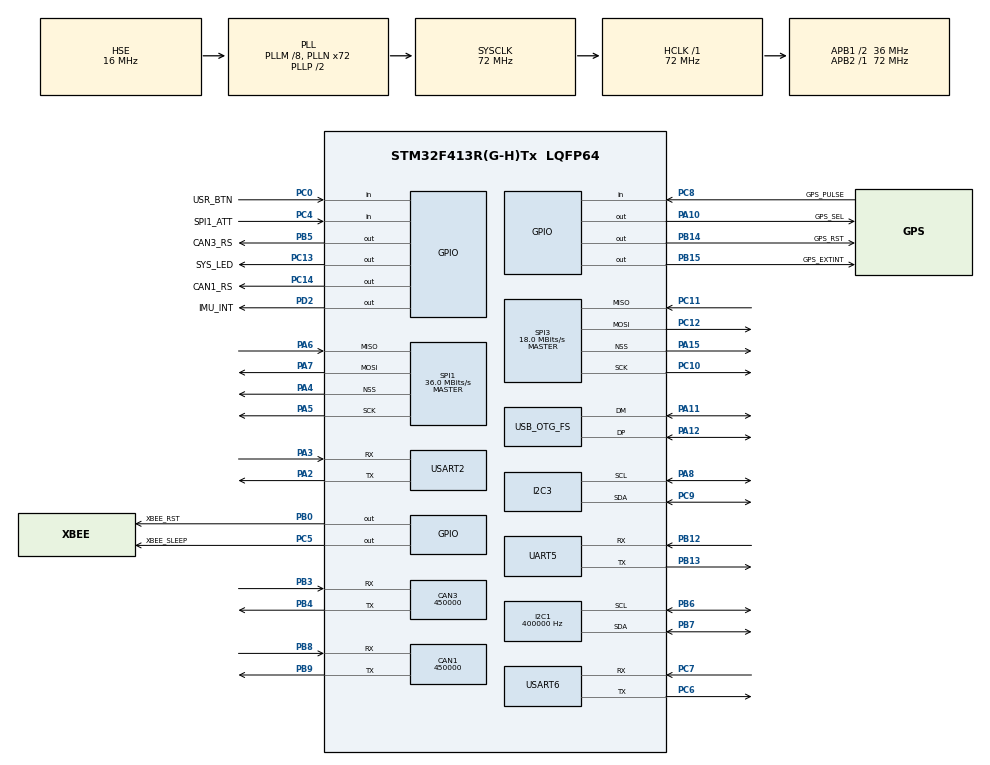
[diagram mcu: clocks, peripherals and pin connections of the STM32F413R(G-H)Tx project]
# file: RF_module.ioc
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CAN1.BS1=CAN_BS1_2TQ
CAN1.BS2=CAN_BS2_2TQ
CAN1.CalculateBaudRate=450000
CAN1.CalculateTimeBit=2222
CAN1.CalculateTimeQuantum=444.44444444444446
CAN3.BS1=CAN_BS1_2TQ
CAN3.BS2=CAN_BS2_2TQ
CAN3.CalculateBaudRate=450000
CAN3.CalculateTimeBit=2222
CAN3.CalculateTimeQuantum=444.44444444444446
Dma.I2C1_RX.0.Direction=DMA_PERIPH_TO_MEMORY
Dma.I2C1_RX.0.FIFOMode=DMA_FIFOMODE_ENABLE
Dma.I2C1_RX.0.FIFOThreshold=DMA_FIFO_THRESHOLD_FULL
Dma.I2C1_RX.0.Instance=DMA1_Stream0
Dma.I2C1_RX.0.MemBurst=DMA_MBURST_SINGLE
Dma.I2C1_RX.0.MemDataAlignment=DMA_MDATAALIGN_BYTE
Dma.I2C1_RX.0.MemInc=DMA_MINC_ENABLE
Dma.I2C1_RX.0.Mode=DMA_NORMAL
Dma.I2C1_RX.0.PeriphBurst=DMA_PBURST_SINGLE
Dma.I2C1_RX.0.PeriphDataAlignment=DMA_PDATAALIGN_BYTE
Dma.I2C1_RX.0.PeriphInc=DMA_PINC_DISABLE
Dma.I2C1_RX.0.Priority=DMA_PRIORITY_VERY_HIGH
Dma.Request0=I2C1_RX
FREERTOS.Tasks01=defaultTask,0,128,StartDefaultTask,Default,NULL,Dynamic,NULL,NULL
FREERTOS.configENABLE_FPU=0
FREERTOS.configUSE_NEWLIB_REENTRANT=1
I2C1.ClockSpeed=400000
I2C1.I2C_Mode=I2C_Fast
Mcu.Family=STM32F4
Mcu.Name=STM32F413R(G-H)Tx
Mcu.Package=LQFP64
NVIC.DMA1_Stream0_IRQn=true\:0\:0\:false\:false\:true\:false\:false\:true\:true
NVIC.I2C1_ER_IRQn=true\:5\:0\:false\:false\:true\:true\:true\:true\:true
NVIC.I2C1_EV_IRQn=true\:5\:0\:false\:false\:true\:true\:true\:true\:true
NVIC.OTG_FS_IRQn=true\:5\:0\:false\:false\:true\:true\:false\:true\:true
NVIC.PriorityGroup=NVIC_PRIORITYGROUP_4
NVIC.TIM1_UP_TIM10_IRQn=true\:15\:0\:false\:false\:true\:false\:false\:true\:true
NVIC.TimeBase=TIM1_UP_TIM10_IRQn
NVIC.TimeBaseIP=TIM10
NVIC.USART2_IRQn=true\:5\:0\:false\:false\:true\:true\:true\:true\:true
PA10.GPIO_Label=GPS_SEL
PA10.Signal=GPIO_Output
PA11.Mode=Device_Only
PA11.Signal=USB_OTG_FS_DM
PA12.Mode=Device_Only
PA12.Signal=USB_OTG_FS_DP
PA13.Mode=Serial_Wire
PA13.Signal=SYS_JTMS-SWDIO
PA14.Mode=Serial_Wire
PA14.Signal=SYS_JTCK-SWCLK
PA15.Mode=NSS_Signal_Hard_Output
PA15.Signal=SPI3_NSS
PA2.Mode=Asynchronous
PA2.Signal=USART2_TX
PA3.Mode=Asynchronous
PA3.Signal=USART2_RX
PA4.Mode=NSS_Signal_Hard_Output
PA4.Signal=SPI1_NSS
PA5.Mode=Full_Duplex_Master
PA5.Signal=SPI1_SCK
PA6.Mode=Full_Duplex_Master
PA6.Signal=SPI1_MISO
PA7.Mode=Full_Duplex_Master
PA7.Signal=SPI1_MOSI
PA8.Mode=I2C
PA8.Signal=I2C3_SCL
PB0.GPIO_Label=XBEE_RST
PB0.Signal=GPIO_Output
PB12.Mode=Asynchronous
PB12.Signal=UART5_RX
PB13.Mode=Asynchronous
PB13.Signal=UART5_TX
PB14.GPIO_Label=GPS_RST
PB14.Signal=GPIO_Output
PB15.GPIO_Label=GPS_EXTINT
PB15.Signal=GPIO_Output
PB3.Mode=CAN_Activate
PB3.Signal=CAN3_RX
PB4.Mode=CAN_Activate
PB4.Signal=CAN3_TX
PB5.GPIO_Label=CAN3_RS
PB5.Signal=GPIO_Output
PB6.Mode=I2C
PB6.Signal=I2C1_SCL
PB7.Mode=I2C
PB7.Signal=I2C1_SDA
PB8.Mode=CAN_Activate
PB8.Signal=CAN1_RX
PB9.Mode=CAN_Activate
PB9.Signal=CAN1_TX
PC0.GPIO_Label=USR_BTN
PC0.Signal=GPIO_Input
PC10.Mode=Full_Duplex_Master
PC10.Signal=SPI3_SCK
PC11.Mode=Full_Duplex_Master
PC11.Signal=SPI3_MISO
PC12.Mode=Full_Duplex_Master
PC12.Signal=SPI3_MOSI
PC13.GPIO_Label=SYS_LED
PC13.Signal=GPIO_Output
PC14-OSC32_IN.GPIO_Label=CAN1_RS
PC14-OSC32_IN.Signal=GPIO_Output
PC4.GPIO_Label=SPI1_ATT
PC4.Signal=GPIO_Input
PC5.GPIO_Label=XBEE_SLEEP
PC5.Signal=GPIO_Output
PC6.Mode=Asynchronous
PC6.Signal=USART6_TX
PC7.Mode=Asynchronous
PC7.Signal=USART6_RX
PC8.GPIO_Label=GPS_PULSE
PC8.Signal=GPIO_Input
PC9.Mode=I2C
PC9.Signal=I2C3_SDA
PD2.GPIO_Label=IMU_INT
PD2.Signal=GPIO_Output
PH0\ -\ OSC_IN.Mode=HSE-External-Oscillator
PH0\ -\ OSC_IN.Signal=RCC_OSC_IN
PH1\ -\ OSC_OUT.Mode=HSE-External-Oscillator
PH1\ -\ OSC_OUT.Signal=RCC_OSC_OUT
ProjectManager.HeapSize=0x200
ProjectManager.StackSize=0x400
ProjectManager.TargetToolchain=STM32CubeIDE
RCC.AHBFreq_Value=72000000
RCC.APB1CLKDivider=RCC_HCLK_DIV2
RCC.APB1Freq_Value=36000000
RCC.APB1TimFreq_Value=72000000
RCC.APB2Freq_Value=72000000
RCC.APB2TimFreq_Value=72000000
RCC.CortexFreq_Value=72000000
RCC.HCLKFreq_Value=72000000
RCC.HSE_VALUE=16000000
RCC.PLLI2SM=8
RCC.PLLI2SN=72
RCC.PLLI2SQ=3
RCC.PLLM=8
RCC.PLLN=72
RCC.PLLQ=3
RCC.PLLSourceVirtual=RCC_PLLSOURCE_HSE
RCC.SYSCLKFreq_VALUE=72000000
RCC.SYSCLKSource=RCC_SYSCLKSOURCE_PLLCLK
RCC.USBFreq_Value=48000000
RCC.VCOOutputFreq_Value=144000000
SPI1.BaudRatePrescaler=SPI_BAUDRATEPRESCALER_2
SPI1.CalculateBaudRate=36.0 MBits/s
SPI1.Direction=SPI_DIRECTION_2LINES
SPI1.Mode=SPI_MODE_MASTER
SPI1.VirtualNSS=VM_NSSHARD
SPI1.VirtualType=VM_MASTER
SPI3.BaudRatePrescaler=SPI_BAUDRATEPRESCALER_2
SPI3.CalculateBaudRate=18.0 MBits/s
SPI3.Direction=SPI_DIRECTION_2LINES
SPI3.Mode=SPI_MODE_MASTER
SPI3.VirtualNSS=VM_NSSHARD
SPI3.VirtualType=VM_MASTER
UART5.VirtualMode=Asynchronous
USART2.VirtualMode=VM_ASYNC
USART6.VirtualMode=VM_ASYNC
USB_DEVICE.CLASS_NAME_FS=CDC
USB_DEVICE.VirtualMode=Cdc
USB_DEVICE.VirtualModeFS=Cdc_FS
USB_OTG_FS.VirtualMode=Device_Only
VP_CRC_VS_CRC.Mode=CRC_Activate
VP_FREERTOS_VS_CMSIS_V1.Mode=CMSIS_V1
VP_SYS_VS_tim10.Mode=TIM10
VP_TIM6_VS_ClockSourceINT.Mode=Enable_Timer
VP_TIM6_VS_OPM.Mode=OPM_bit
VP_USB_DEVICE_VS_USB_DEVICE_CDC_FS.Mode=CDC_FS
board=custom

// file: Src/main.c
/* USER CODE BEGIN Header */
/**
  ******************************************************************************
  * @file           : main.c
  * @brief          : Main program body
  ******************************************************************************
  * @attention
  *
  * Copyright (c) 2023 STMicroelectronics.
  * All rights reserved.
  *
  * This software is licensed under terms that can be found in the LICENSE file
  * in the root directory of this software component.
  * If no LICENSE file comes with this software, it is provided AS-IS.
  *
  ******************************************************************************
  */
/* USER CODE END Header */
#include "main.h"
#include "cmsis_os.h"
#include "can.h"
#include "crc.h"
#include "dma.h"
#include "i2c.h"
#include "spi.h"
#include "tim.h"
#include "usart.h"
#include "usb_device.h"
#include "gpio.h"

/* USER CODE BEGIN Includes */
#include "mpu6050.h"
#include "usbd_cdc_if.h"
/* USER CODE END Includes */

/* USER CODE BEGIN PV */
volatile uint8_t mpuReceiveDone =1;
volatile uint8_t uartTransmitDone=1;
// volatile uint8_t uartReceiveDone=1;
// volatile uint16_t uartReceiveLen;
// extern osMessageQId uartCDCHandle;

/* USER CODE END PV */

void SystemClock_Config(void);
void MX_FREERTOS_Init(void);
/* USER CODE BEGIN PFP */

void HAL_I2C_MemRxCpltCallback (I2C_HandleTypeDef * hi2c){
  if(hi2c->Instance==hi2c1.Instance){
    mpuReceiveDone = 1;
  }
}

void HAL_UART_RxCpltCallback(UART_HandleTypeDef *huart){
  if(huart->Instance==huart2.Instance){
    extern osMessageQId uartCDCHandle;
    static BaseType_t taskWoken;
    for(uint32_t i=0;i<huart->RxXferSize;i++){
      xQueueSendFromISR(uartCDCHandle, huart2.pRxBuffPtr + i,&taskWoken);
    }
    HAL_UART_Receive_DMA(&huart2,huart->pRxBuffPtr,1);
  }
}
void HAL_UART_TxCpltCallback(UART_HandleTypeDef *huart){
  if(huart->Instance==huart2.Instance){
    uartTransmitDone = 1;
  }
}

/* USER CODE END PFP */

int main(void)
{

  /* MCU Configuration--------------------------------------------------------*/

  /* Reset of all peripherals, Initializes the Flash interface and the Systick. */
  HAL_Init();

  /* Configure the system clock */
  SystemClock_Config();

  /* Initialize all configured peripherals */
  MX_GPIO_Init();
  MX_DMA_Init();
  MX_CAN1_Init();
  MX_CAN3_Init();
  MX_I2C1_Init();
  MX_I2C3_Init();
  MX_SPI1_Init();
  MX_SPI3_Init();
  MX_UART5_Init();
  MX_USART2_UART_Init();
  MX_USART6_UART_Init();
  MX_CRC_Init();
  MX_TIM6_Init();
  /* USER CODE BEGIN 2 */
  while (MPU6050_Init(&hi2c1) == 1);
  HAL_TIM_Base_Start_IT(&htim6);
  // HAL_UART_Receive_IT(&huart6, &Received, 1);

  // gps reset
  HAL_GPIO_WritePin(GPS_RST_GPIO_Port,GPS_RST_Pin, GPIO_PIN_RESET);
  HAL_Delay(200);
  HAL_GPIO_WritePin(GPS_RST_GPIO_Port,GPS_RST_Pin, GPIO_PIN_SET);

  // initialize continuous uart dma read
  // HAL_UART_Receive_DMA(&huart2,uartCDCBuffer,1024);

  /* USER CODE END 2 */

  /* Call init function for freertos objects (in cmsis_os2.c) */
  MX_FREERTOS_Init();

  /* Start scheduler */
  osKernelStart();

  /* We should never get here as control is now taken by the scheduler */

  /* Infinite loop */
  /* USER CODE BEGIN WHILE */

  // MX_USB_DEVICE_Init();

  while (1)
  {
    /* USER CODE END WHILE */

  }
}

void SystemClock_Config(void)
{
  RCC_OscInitTypeDef RCC_OscInitStruct = {0};
  RCC_ClkInitTypeDef RCC_ClkInitStruct = {0};

  /** Configure the main internal regulator output voltage
  */
  __HAL_RCC_PWR_CLK_ENABLE();
  __HAL_PWR_VOLTAGESCALING_CONFIG(PWR_REGULATOR_VOLTAGE_SCALE1);

  /** Initializes the RCC Oscillators according to the specified parameters
  * in the RCC_OscInitTypeDef structure.
  */
  RCC_OscInitStruct.OscillatorType = RCC_OSCILLATORTYPE_HSE;
  RCC_OscInitStruct.HSEState = RCC_HSE_ON;
  RCC_OscInitStruct.PLL.PLLState = RCC_PLL_ON;
  RCC_OscInitStruct.PLL.PLLSource = RCC_PLLSOURCE_HSE;
  RCC_OscInitStruct.PLL.PLLM = 8;
  RCC_OscInitStruct.PLL.PLLN = 72;
  RCC_OscInitStruct.PLL.PLLP = RCC_PLLP_DIV2;
  RCC_OscInitStruct.PLL.PLLQ = 3;
  RCC_OscInitStruct.PLL.PLLR = 2;
  if (HAL_RCC_OscConfig(&RCC_OscInitStruct) != HAL_OK)
  {
    Error_Handler();
  }

  /** Initializes the CPU, AHB and APB buses clocks
  */
  RCC_ClkInitStruct.ClockType = RCC_CLOCKTYPE_HCLK|RCC_CLOCKTYPE_SYSCLK
                              |RCC_CLOCKTYPE_PCLK1|RCC_CLOCKTYPE_PCLK2;
  RCC_ClkInitStruct.SYSCLKSource = RCC_SYSCLKSOURCE_PLLCLK;
  RCC_ClkInitStruct.AHBCLKDivider = RCC_SYSCLK_DIV1;
  RCC_ClkInitStruct.APB1CLKDivider = RCC_HCLK_DIV2;
  RCC_ClkInitStruct.APB2CLKDivider = RCC_HCLK_DIV1;

  if (HAL_RCC_ClockConfig(&RCC_ClkInitStruct, FLASH_LATENCY_2) != HAL_OK)
  {
    Error_Handler();
  }
}

void HAL_TIM_PeriodElapsedCallback(TIM_HandleTypeDef *htim)
{
  /* USER CODE BEGIN Callback 0 */
  if (htim->Instance == TIM6)
  {
    HAL_GPIO_TogglePin(GPIOC, SYS_LED_Pin);
  }

  /* USER CODE END Callback 0 */
  if (htim->Instance == TIM10) {
    HAL_IncTick();
  }
}

void Error_Handler(void)
{
  __disable_irq();
  while (1)
  {
  }
}

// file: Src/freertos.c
/* USER CODE BEGIN Header */
/**
  ******************************************************************************
  * File Name          : freertos.c
  * Description        : Code for freertos applications
  ******************************************************************************
  * @attention
  *
  * Copyright (c) 2024 STMicroelectronics.
  * All rights reserved.
  *
  * This software is licensed under terms that can be found in the LICENSE file
  * in the root directory of this software component.
  * If no LICENSE file comes with this software, it is provided AS-IS.
  *
  ******************************************************************************
  */
/* USER CODE END Header */

#include "FreeRTOS.h"
#include "task.h"
#include "main.h"
#include "cmsis_os.h"

/* USER CODE BEGIN Includes */
#include "mpu6050.h"
#include "usbd_cdc_if.h"
#include <usart.h>

/* USER CODE END Includes */

/* USER CODE BEGIN Variables */
MPU6050_t MPU6050;
uint8_t mpuReceiveBuff[READ_IMU_NBYTES];

typedef enum {
  FAIL =   0b00000000,
  FAST =   0b00000001, // during uart/cdc send/recv
  NORMAL = 0b00000010 // mpu6050 working
} blinkModes;
blinkModes ledBlinkMode;
TickType_t lastBlinkSet;

extern uint8_t sdajio[1024];
uint8_t uartCDCBuffer[1024];
extern volatile uint8_t mpuReceiveDone;
extern volatile uint8_t uartTransmitDone;

/* USER CODE END Variables */
osThreadId defaultTaskHandle;
osThreadId ledBlinkTaskHandle;
osMessageQId CDCuartHandle;
uint8_t _CDCuartBuffer[ 1024 * sizeof( uint8_t ) ];
osStaticMessageQDef_t CDCuartControlBlock;
osMessageQId uartCDCHandle;
uint8_t _uartCDCBuffer[ 1024 * sizeof( uint8_t ) ];
osStaticMessageQDef_t uartCDCControlBlock;

/* USER CODE BEGIN FunctionPrototypes */

TickType_t millis(){
  return xTaskGetTickCount()/configTICK_RATE_HZ*1000;
}

/* USER CODE END FunctionPrototypes */

void StartDefaultTask(void const * argument);
void startLedBlink(void const * argument);

extern void MX_USB_DEVICE_Init(void);
void MX_FREERTOS_Init(void); /* (MISRA C 2004 rule 8.1) */

/* GetIdleTaskMemory prototype (linked to static allocation support) */
void vApplicationGetIdleTaskMemory( StaticTask_t **ppxIdleTaskTCBBuffer, StackType_t **ppxIdleTaskStackBuffer, uint32_t *pulIdleTaskStackSize );

/* USER CODE BEGIN GET_IDLE_TASK_MEMORY */
static StaticTask_t xIdleTaskTCBBuffer;
static StackType_t xIdleStack[configMINIMAL_STACK_SIZE];

void vApplicationGetIdleTaskMemory( StaticTask_t **ppxIdleTaskTCBBuffer, StackType_t **ppxIdleTaskStackBuffer, uint32_t *pulIdleTaskStackSize )
{
  *ppxIdleTaskTCBBuffer = &xIdleTaskTCBBuffer;
  *ppxIdleTaskStackBuffer = &xIdleStack[0];
  *pulIdleTaskStackSize = configMINIMAL_STACK_SIZE;
  /* place for user code */
}
/* USER CODE END GET_IDLE_TASK_MEMORY */

void MX_FREERTOS_Init(void) {

  /* Create the queue(s) */
  /* definition and creation of CDCuart */
  osMessageQStaticDef(CDCuart, 1024, uint8_t, _CDCuartBuffer, &CDCuartControlBlock);
  CDCuartHandle = osMessageCreate(osMessageQ(CDCuart), NULL);

  /* definition and creation of uartCDC */
  osMessageQStaticDef(uartCDC, 1024, uint8_t, _uartCDCBuffer, &uartCDCControlBlock);
  uartCDCHandle = osMessageCreate(osMessageQ(uartCDC), NULL);

  /* Create the thread(s) */
  /* definition and creation of defaultTask */
  osThreadDef(defaultTask, StartDefaultTask, osPriorityNormal, 0, 512);
  defaultTaskHandle = osThreadCreate(osThread(defaultTask), NULL);

  /* definition and creation of ledBlinkTask */
  osThreadDef(ledBlinkTask, startLedBlink, osPriorityIdle, 0, 128);
  ledBlinkTaskHandle = osThreadCreate(osThread(ledBlinkTask), NULL);

}

void StartDefaultTask(void const * argument)
{
  /* init code for USB_DEVICE */
  MX_USB_DEVICE_Init();
  /* USER CODE BEGIN StartDefaultTask */
  HAL_UART_Receive_DMA(&huart2,uartCDCBuffer,1);

  /* Infinite loop */
  for(;;)
  {
    osDelay(10);
    if(millis()-lastBlinkSet>3000){
      ledBlinkMode = FAIL;
      lastBlinkSet = millis();
    }

    if(mpuReceiveDone){
      mpuReceiveDone = 0;
      MPU6050_fill(&MPU6050,mpuReceiveBuff);

      HAL_I2C_Mem_Read_DMA(&hi2c1,MPU6050_ADDR,DATA_START_REG,1,mpuReceiveBuff,READ_IMU_NBYTES);
      ledBlinkMode = NORMAL;
      lastBlinkSet = millis();
    }

    { // uart -> cdc
      static uint8_t tmp[1024];
      int i=0;
      while(xQueueReceive(uartCDCHandle, tmp+i,0)==pdTRUE) i++;

      // size of data received
      if(i!=0){
        ledBlinkMode = FAST;
        lastBlinkSet = millis();
        CDC_Transmit_FS(tmp, i);
      }
    }

    // cdc->uart
    if(uartTransmitDone){
      static uint8_t CDCuartBuffer[1024];
      int i=0;
      while(xQueueReceive(CDCuartHandle, CDCuartBuffer+i,0)==pdTRUE) i++;
      // size of data received
      if(i!=0){
        uartTransmitDone =0;
        ledBlinkMode = FAST;
        lastBlinkSet = millis();
      }
      HAL_UART_Transmit_DMA(&huart2, CDCuartBuffer, i);
    }

    {
      // CDC_Transmit_FS(uartCDCBuffer, 100);
      // uint8_t c[] = "\n\r";
      // CDC_Transmit_FS(&c, 2);
    }

  }
  /* USER CODE END StartDefaultTask */
}

void startLedBlink(void const * argument)
{
  /* USER CODE BEGIN startLedBlink */
  /* Infinite loop */
  for(;;)
  {
    if(ledBlinkMode == FAST ){
      osDelay(100);
    }else if (ledBlinkMode == NORMAL){
      osDelay(1000);
    } else{
      HAL_GPIO_WritePin(GPIOC, SYS_LED_Pin, GPIO_PIN_SET);
      osDelay(10000);
    }
    HAL_GPIO_TogglePin(GPIOC, SYS_LED_Pin);
  }
  /* USER CODE END startLedBlink */
}
